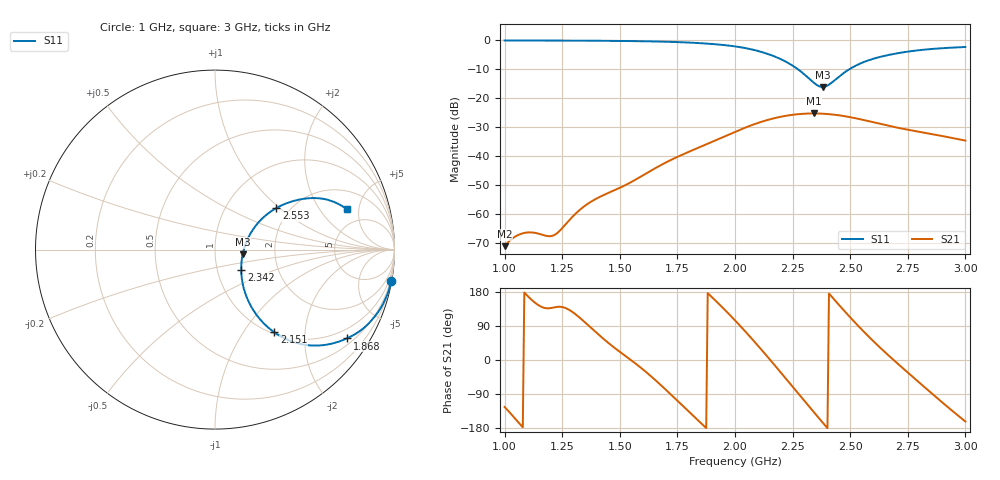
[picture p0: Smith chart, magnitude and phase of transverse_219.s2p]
! TOUCHSTONE file generated by CST MICROWAVE STUDIO
! Date and time: Tue Mar 11 13:57:50 2025
! Project name: transverse.cst
! Parameters = {Fracture=1; B=10; D=160; F=5; Feed=2.85625; L=100; M=10; R=0.384908; S=2; Theta=270; length=57.125; wave=114.25}
! Header version: 2024
! Port assignment regex: !\s*Touchstone port\s*([0-9]+)\s*=\s*(CST MWS port|CST DES external port|CST DES block port)\s*(.+)\s* \(\"(.*)\"\)(\s*mode\s*([0-9]+))?.*
! Touchstone port assignment:
! Touchstone port 1 = CST MWS port 1 ("")
! Touchstone port 2 = CST MWS port 2 ("")
# GHz S MA R 50
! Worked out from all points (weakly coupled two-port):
!   305 points, 1 GHz to 3 GHz, reference 50 ohm
!   highest |S21| = -25.29 dB at 2.342 GHz (marker M1); lowest = -71.2 dB at 1 GHz (marker M2)
!   lowest |S11| = -16.1 dB at 2.382 GHz (marker M3), VSWR 1.37, Z = 68.1 - j3.79 ohm
!   |S11| at or under -10 dB: 2.273 GHz to 2.496 GHz (222.9 MHz wide, 9.35 % of centre)
!   S12 and S22 are empty: the file has one direction only
!   S11 on the Smith chart (normalised r, x): 1 GHz: 0, -11; 1.868 GHz: 0.68, -3.14; 2.151 GHz: 1.03, -1.39; 2.342 GHz: 1.30, -0.31; 2.553 GHz: 1.70, +0.95; 3 GHz: 3.38, +3.73
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1  0.9978 -10.0  0.0002743 -123.9  0 0.0  0 0.0
1.03947  0.9973 -10.5  0.0003867 -150.5  0 0.0  0 0.0
1.08553  0.9965 -11.2  0.000465 178.1  0 0.0  0 0.0
1.19079  0.9949 -12.8  0.0004083 136.4  0 0.0  0 0.0
1.21711  0.9944 -13.3  0.0004308 139.0  0 0.0  0 0.0
1.33553  0.9899 -15.5  0.00125 106.6  0 0.0  0 0.0
1.39474  0.987 -16.8  0.001793 74.1  0 0.0  0 0.0
1.53289  0.9759 -20.3  0.003254 6.8  0 0.0  0 0.0
1.67105  0.9549 -24.7  0.006695 -62.3  0 0.0  0 0.0
1.86842  0.886 -33.9  0.01544 -175.8  0 0.0  0 0.0
2  0.7875 -42.7  0.02616 104.6  0 0.0  0 0.0
2.15132  0.5665 -54.4  0.043 1.3  0 0.0  0 0.0
2.25  0.3656 -57.5  0.05154 -70.3  0 0.0  0 0.0
2.33553  0.1948 -41.3  0.05438 -132.7  0 0.0  0 0.0
2.34211  0.1851 -38.0  0.0544 -137.5  0 0.0  0 0.0
2.38158  0.1562 -10.0  0.05384 -165.9  0 0.0  0 0.0
2.40789  0.1714 9.3  0.05291 175.5  0 0.0  0 0.0
2.46711  0.2641 30.5  0.04944 134.5  0 0.0  0 0.0
2.55263  0.4122 34.1  0.04238 78.7  0 0.0  0 0.0
2.67105  0.5644 30.0  0.03293 9.5  0 0.0  0 0.0
2.83553  0.7004 22.9  0.02471 -78.5  0 0.0  0 0.0
3  0.7691 17.1  0.01845 -162.3  0 0.0  0 0.0
